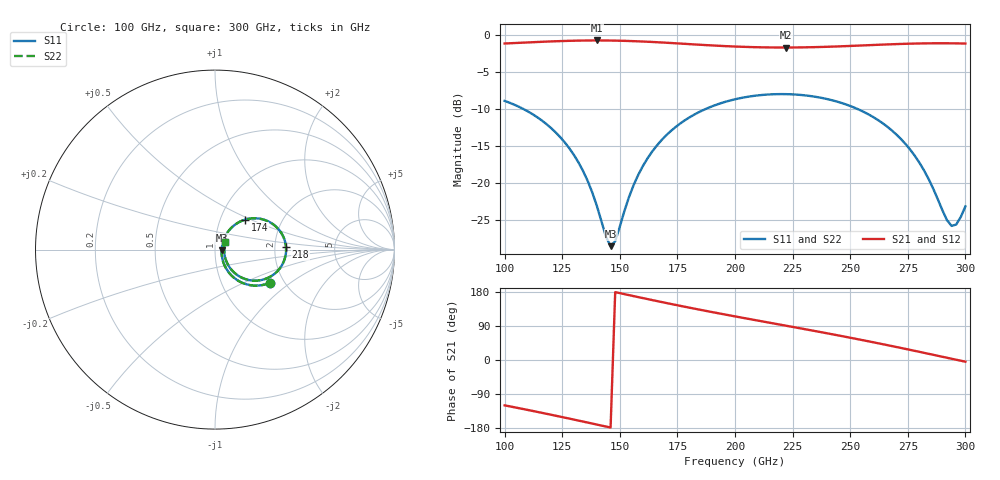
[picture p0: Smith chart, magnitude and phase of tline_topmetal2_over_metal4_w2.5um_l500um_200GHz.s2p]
#  GHZ S DB R 50
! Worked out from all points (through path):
!   101 points, 100 GHz to 300 GHz, reference 50 ohm
!   highest |S21| = -0.79 dB at 140 GHz (marker M1); lowest = -1.7 dB at 222 GHz (marker M2)
!   group delay of S21, straight-line fit = 3.35 ps
!   lowest |S11| = -28.6 dB at 146 GHz (marker M3), VSWR 1.08, Z = 53.8 - j0.491 ohm
!   |S11| at or under -10 dB: 107.8 GHz to 187.6 GHz (79.82 GHz wide, 54 % of centre); 252.8 GHz to end of sweep
!   |S22| runs from -28.7 to -8.0 dB; largest |S21 - S12| = 1e-13
!   S11 on the Smith chart (normalised r, x): 100 GHz: 1.69, -0.71; 174 GHz: 1.31, +0.46; 218 GHz: 2.31, +0.08; 300 GHz: 1.11, +0.09
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100  -8.96 -31.2  -1.20 -119.7  -1.20 -119.7  -8.96 -31.3
120  -12.58 -51.1  -0.92 -144.2  -0.92 -144.2  -12.58 -51.3
128  -15.33 -57.4  -0.84 -154.5  -0.84 -154.5  -15.33 -57.6
134  -18.40 -59.3  -0.80 -162.4  -0.80 -162.4  -18.41 -59.6
140  -23.12 -52.7  -0.79 -170.3  -0.79 -170.3  -23.15 -53.2
146  -28.60 -7.0  -0.80 -178.3  -0.80 -178.3  -28.73 -7.3
148  -27.92 18.1  -0.81 179.1  -0.81 179.1  -28.04 18.2
154  -21.95 50.2  -0.86 171.2  -0.86 171.2  -21.99 50.5
158  -18.96 53.8  -0.90 166.0  -0.90 166.0  -18.98 54.0
168  -14.30 49.9  -1.06 153.2  -1.06 153.2  -14.31 50.0
174  -12.54 45.0  -1.16 145.7  -1.16 145.7  -12.55 45.0
186  -10.23 33.7  -1.39 131.2  -1.39 131.2  -10.23 33.7
200  -8.74 19.9  -1.61 115.1  -1.61 115.1  -8.75 19.9
218  -8.05 2.2  -1.74 95.1  -1.74 95.1  -8.05 2.1
222  -8.04 -1.8  -1.74 90.6  -1.74 90.6  -8.05 -1.8
234  -8.36 -13.6  -1.69 77.2  -1.69 77.2  -8.36 -13.6
252  -9.89 -31.1  -1.50 56.4  -1.50 56.4  -9.90 -31.1
268  -12.93 -45.4  -1.30 36.9  -1.30 36.9  -12.94 -45.3
280  -17.29 -50.8  -1.19 21.6  -1.19 21.6  -17.29 -50.6
294  -25.86 -6.0  -1.17 3.3  -1.17 3.3  -25.74 -5.7
296  -25.68 11.3  -1.18 0.7  -1.18 0.7  -25.54 11.3
300  -23.22 36.0  -1.20 -4.5  -1.20 -4.5  -23.12 35.6
